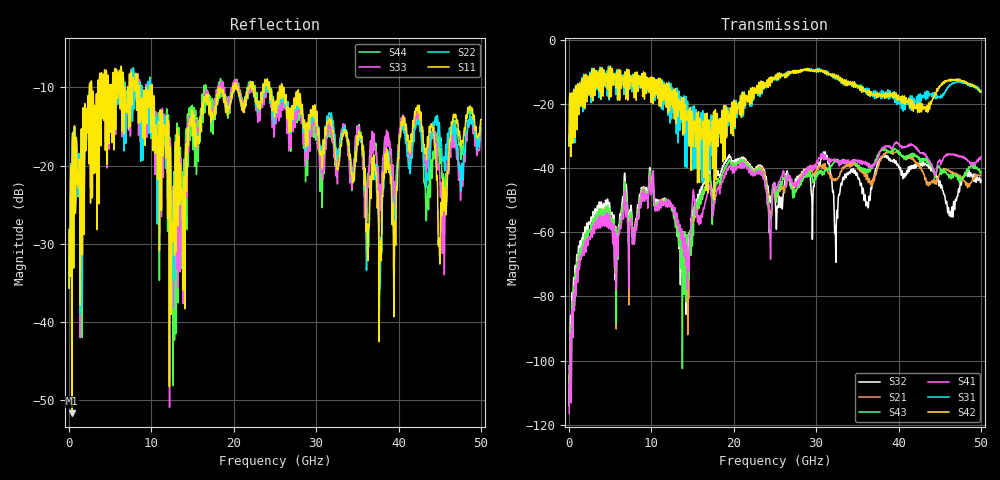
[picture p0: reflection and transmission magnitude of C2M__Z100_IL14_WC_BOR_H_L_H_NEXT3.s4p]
# GHz S MA R 50
! S-Parameters data
! Freq  magS11  angS11  magS12  angS12  magS13  angS13  magS14  angS14
!  magS21  angS21  magS22  angS22  magS23  angS23  magS24  angS24
!  magS31  angS31  magS32  angS32  magS33  angS33  magS34  angS34
!  magS41  angS41  magS42  angS42  magS43  angS43  magS44  angS44
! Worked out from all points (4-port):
!   5000 points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, 10 MHz to 50 GHz, reference 50 ohm
!   strongest paths, dB at 10 MHz, 12.51 GHz, 25.01 GHz, 37.51 GHz, 50 GHz:
!     S42: -33.1, -16.5, -11.6, -17.6, -16.1
!     S31: -33.1, -15.8, -11.8, -17.5, -16.3
!     S41: -116.4, -51.6, -45.1, -36.6, -36.5
!     S43: -114.0, -52.6, -46.4, -36.1, -41.1
!     S21: -113.9, -52.2, -47.4, -39.5, -42.2
!     S32: -111.0, -53.0, -48.9, -38.6, -43.7
!   lowest |S11| = -51.7 dB at 330 MHz (marker M1), VSWR 1.01, Z = 49.8 + j0.0889 ohm
!   |S11| at or under -10 dB: start of sweep to 2.473 GHz; 10.09 GHz to 18.34 GHz (8.242 GHz wide, 58 % of centre); 26.07 GHz to end of sweep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
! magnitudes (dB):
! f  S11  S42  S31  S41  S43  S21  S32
! 10 MHz  -35.6  -33.1  -33.1  -116.4  -114.0  -113.9  -111.0
! 330 MHz  -51.7  -16.7  -16.8  -86.7  -84.2  -84.2  -81.4
! 9.95 GHz  -14.7  -19.5  -14.4  -47.8  -46.8  -46.6  -45.5
! 14.36 GHz  -15.6  -24.9  -19.5  -75.6  -65.1  -71.5  -62.3
! 19.42 GHz  -12.8  -23.4  -24.1  -39.4  -37.5  -37.9  -36.0
! 24.42 GHz  -11.5  -14.4  -14.1  -63.0  -54.6  -53.4  -48.8
! 50 GHz  -14.1  -16.1  -16.3  -36.5  -41.1  -42.2  -43.7
